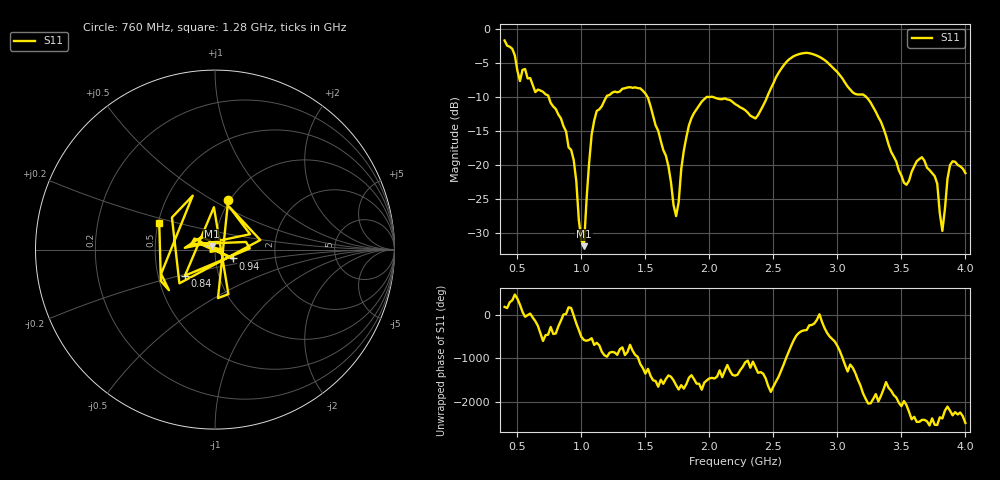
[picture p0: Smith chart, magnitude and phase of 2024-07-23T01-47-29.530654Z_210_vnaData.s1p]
!Created with skrf (http://scikit-rf.org).
# Hz S RI R 50.0
!freq ReS11 ImS11
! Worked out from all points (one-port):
!   181 points, 400 MHz to 4 GHz, reference 50 ohm
!   lowest |S11| = -31.9 dB at 1.02 GHz (marker M1), VSWR 1.05, Z = 48.2 + j1.74 ohm
!   |S11| at or under -10 dB: 745.2 MHz to 1.193 GHz (448.1 MHz wide, 46.2 % of centre); 1.518 GHz to 1.975 GHz (457.3 MHz wide, 26.2 % of centre); 3.228 GHz to end of sweep (the widest 3 of 4)
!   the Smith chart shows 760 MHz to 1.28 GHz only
!   S11 on the Smith chart (normalised r, x): 760 MHz: 0.98, +0.59; 840 MHz: 0.69, -0.21; 940 MHz: 1.21, -0.12; 1.28 GHz: 0.51, +0.17
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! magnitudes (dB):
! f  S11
! 400 MHz  -1.6
! 520 MHz  -7.6
! 760 MHz  -10.8
! 840 MHz  -13.1
! 860 MHz  -14.2
! 940 MHz  -19.2
! 1.02 GHz  -31.9
! 1.06 GHz  -19.7
! 1.1 GHz  -13.4
! 1.28 GHz  -9.3
! 1.3 GHz  -9.1
! 1.52 GHz  -10.1
! 1.68 GHz  -20.1
! 1.74 GHz  -27.5
! 1.76 GHz  -25.4
! 1.8 GHz  -17.9
! 1.88 GHz  -12.3
! 2.2 GHz  -11.0
! 2.36 GHz  -13.1
! 2.66 GHz  -3.9
! 3.1 GHz  -8.9
! 3.26 GHz  -10.8
! 3.56 GHz  -22.2
! 3.66 GHz  -18.8
! 3.76 GHz  -21.6
! 3.82 GHz  -29.7
! 3.88 GHz  -20.0
! 4 GHz  -21.1
